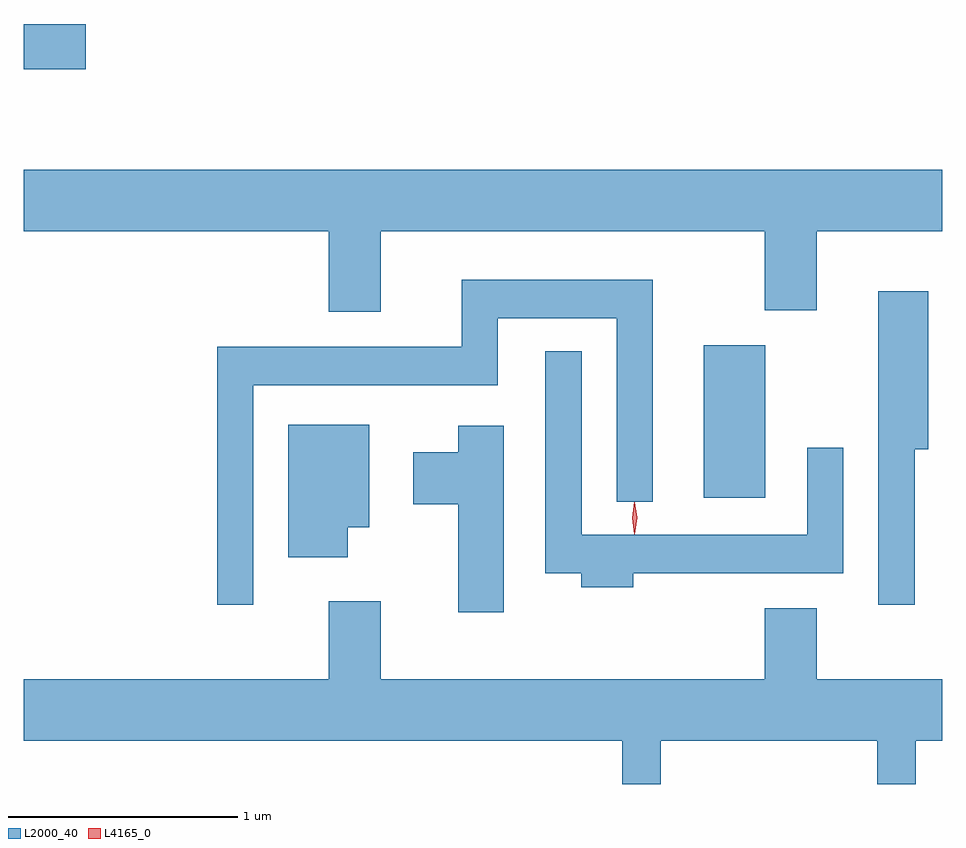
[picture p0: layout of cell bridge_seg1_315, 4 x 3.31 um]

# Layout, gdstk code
import gdstk
lib = gdstk.Library(unit=1e-6, precision=1e-09)
def R(c, l, rs):  # rectangles x0, y0, x1, y1
    for r in rs: c.add(gdstk.rectangle(r[:2], r[2:], *l))
def P(c, l, *ps):  # polygons
    for p in ps: c.add(gdstk.Polygon(p, *l))
L2000_40 = (2000, 40)
L4165_0 = (4165, 0)

bridge_seg1_315 = lib.new_cell('bridge_seg1_315')
R(bridge_seg1_315, L2000_40, [(883.846,873.996,884.114,874.659), (880.884,875.861,881.154,876.059)])
P(bridge_seg1_315, L2000_40, [(882.439,875.156),(884.111,875.156),(884.111,874.811),(884.339,874.811),(884.339,875.156),(884.884,875.156),(884.884,875.424),(880.884,875.424),(880.884,875.156),(882.211,875.156),(882.211,874.806),(882.439,874.806)],
  [(881.884,874.486),(882.949,874.486),(882.949,874.776),(883.466,874.776),(883.466,873.978),(883.624,873.978),(883.624,874.944),(882.791,874.944),(882.791,874.654),(881.726,874.654),(881.726,873.528),(881.884,873.528)],
  [(884.764,874.206),(884.824,874.206),(884.824,874.894),(884.606,874.894),(884.606,873.528),(884.764,873.528)],
  [(883.539,873.666),(884.454,873.666),(884.454,874.213),(884.296,874.213),(884.296,873.834),(883.314,873.834),(883.314,874.633),(883.156,874.633),(883.156,873.666),(883.311,873.666),(883.311,873.606),(883.539,873.606)],
  [(882.294,873.866),(882.389,873.866),(882.389,874.314),(882.036,874.314),(882.036,873.736),(882.294,873.736)],
  [(882.974,874.309),(882.776,874.309),(882.776,874.194),(882.581,874.194),(882.581,873.966),(882.776,873.966),(882.776,873.496),(882.974,873.496)],
  [(883.659,872.936),(884.601,872.936),(884.601,872.748),(884.769,872.748),(884.769,872.936),(884.884,872.936),(884.884,873.204),(884.339,873.204),(884.339,873.514),(884.111,873.514),(884.111,873.204),(882.439,873.204),(882.439,873.544),(882.211,873.544),(882.211,873.204),(880.884,873.204),(880.884,872.936),(883.491,872.936),(883.491,872.748),(883.659,872.748)])
P(bridge_seg1_315, L4165_0, [(883.544,873.837),(883.535,873.907),(883.544,873.976),(883.545,873.976),(883.545,873.976),(883.555,873.907),(883.545,873.837),(883.545,873.837)],
  [(883.546,873.839),(883.545,873.84),(883.536,873.906),(883.545,873.972),(883.546,873.973),(883.546,873.972),(883.556,873.906),(883.546,873.84)])

lib.write_gds('bridge_seg1_315.gds')
